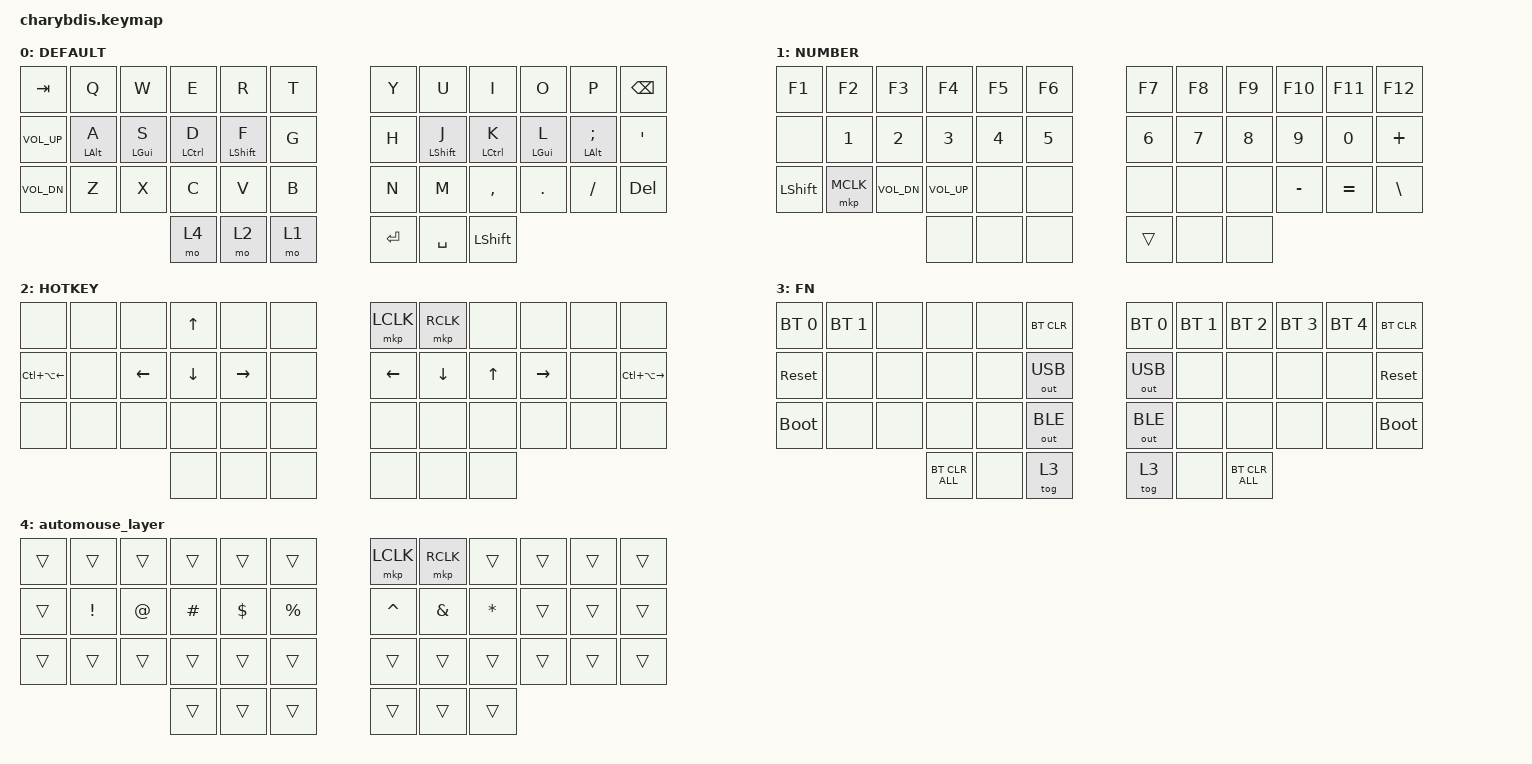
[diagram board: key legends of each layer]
#include <dt-bindings/zmk/mouse.h>
#include <behaviors.dtsi>
#include <dt-bindings/zmk/bt.h>
#include <dt-bindings/zmk/keys.h>
#include <dt-bindings/zmk/outputs.h>
#include <dt-bindings/zmk/pointing.h>

#define DEFAULT 0
#define NUMBER  1
#define FN  2
#define HOTKEY  3
#define KEYS_L 0 1 2 3 4 5 12 13 14 15 16 17 24 25 26 27 28 29
#define KEYS_R 6 7 8 9 10 11 18 19 20 21 22 23 30 31 32 33 34 35
#define THUMBS 36 37 38 39 40 41

/ {
    combos {
        compatible = "zmk,combos";

        combo_lbrc {
            timeout-ms = <50>;
            key-positions = <3 2>; // KP: VB
            bindings = <&mt RBRC LBRC>;
            layers = <0 1>;
        };

        combo_rbrc {
            timeout-ms = <50>;
            key-positions = <8 9>; // KP: NM
            bindings = <&kp RBRC>;
            layers = <0 1>;
        };

        combo_lpar {
            timeout-ms = <50>;
            key-positions = <14 15>; // KP: FG
            bindings = <&mt RPAR LPAR>;
            layers = <0 1>;
        };

        combo_rpar {
            timeout-ms = <50>;
            key-positions = <20 21>;
            bindings = <&kp RPAR>;
            layers = <0 1>;
        };

        combo_lbkt {
            timeout-ms = <50>;
            key-positions = <26 27>; // KP: RT
            bindings = <&mt RBKT LBKT>;  // 可以用CMD+这个单手返回到代码上一个编辑的地方 或者网页返回
            layers = <0 1>;
        };

        combo_rbkt {
            timeout-ms = <50>;
            key-positions = <32 33>; // KP: YU
            bindings = <&kp RBKT>;
            layers = <0 1>;
        };

        esc {
            timeout-ms = <50>;
            key-positions = <0 1>;
            bindings = <&kp ESC>; // ESC
            layers = <0>;
        };

        system_right {
            bindings = <&tog 3>;
            key-positions = <6 11>;
        };

        system_left {
            bindings = <&tog 3>;
            key-positions = <0 5>;
        };

        Grave_Tilde {
            bindings = <&kp GRAVE>;
            key-positions = <12 13>;
        };

        MB1_Right {
            bindings = <&mkp LCLK>;
            key-positions = <6 7>;
        };

        MB1_Left {
            bindings = <&mkp LCLK>;
            key-positions = <4 5>;
        };

        MB2_Right {
            bindings = <&mkp RCLK>;
            key-positions = <7 8>;
        };

        MB2_Left {
            bindings = <&mkp RCLK>;
            key-positions = <3 4>;
        };

        Scroll {
            bindings = <&mo 1>;
            key-positions = <6 8>;
        };
    };

    behaviors {
        hml: home_row_mod_left {
            compatible = "zmk,behavior-hold-tap";
            #binding-cells = <2>;
            flavor = "balanced";
            require-prior-idle-ms = <150>;
            tapping-term-ms = <280>;
            quick-tap-ms = <175>;
            bindings = <&kp>, <&kp>;

            hold-trigger-key-positions = < KEYS_R THUMBS >; // List of keys on the right side of the keyboard
            hold-trigger-on-release;
        };

        hmr: home_row_mod_right {
            compatible = "zmk,behavior-hold-tap";
            #binding-cells = <2>;
            flavor = "balanced";
            require-prior-idle-ms = <150>;
            tapping-term-ms = <280>;
            quick-tap-ms = <175>;
            bindings = <&kp>, <&kp>;

            hold-trigger-key-positions = < KEYS_L THUMBS >; // List of keys on the left side of the keyboard
            hold-trigger-on-release;
        };
    };

    keymap {
        compatible = "zmk,keymap";

        default_layer {
            label = "DEFAULT";
            bindings = <
&kp TAB          &kp Q            &kp W            &kp E         &kp R              &kp T  &kp Y      &kp U              &kp I         &kp O            &kp P                    &kp BACKSPACE
&kp C_VOLUME_UP  &hml LEFT_ALT A  &hml LEFT_GUI S  &hml LCTRL D  &hml LEFT_SHIFT F  &kp G  &kp H      &hmr LEFT_SHIFT J  &hmr LCTRL K  &hmr LEFT_GUI L  &hmr LEFT_ALT SEMICOLON  &kp SQT
&kp C_VOL_DN     &kp Z            &kp X            &kp C         &kp V              &kp B  &kp N      &kp M              &kp COMMA     &kp DOT          &kp FSLH                 &kp DEL
                                                   &mo 4         &mo 2              &mo 1  &kp ENTER  &kp SPACE          &kp LSHFT
            >;
        };

        number_layer {
            label = "NUMBER";
            bindings = <
&kp F1     &kp F2     &kp F3        &kp F4        &kp F5  &kp F6  &kp F7  &kp F8  &kp F9  &kp F10    &kp F11    &kp F12
&none      &kp N1     &kp N2        &kp N3        &kp N4  &kp N5  &kp N6  &kp N7  &kp N8  &kp N9     &kp N0     &kp PLUS
&kp LSHFT  &mkp MCLK  &kp C_VOL_DN  &kp C_VOL_UP  &none   &none   &none   &none   &none   &kp MINUS  &kp EQUAL  &kp BACKSLASH
                                    &none         &none   &none   &trans  &none   &none
            >;
        };

        hotkey_layer {
            label = "HOTKEY";
            bindings = <
&none             &none  &none     &kp UP    &none      &none  &mkp LCLK  &mkp RCLK  &none         &none      &none  &none
&kp LC(LA(LEFT))  &none  &kp LEFT  &kp DOWN  &kp RIGHT  &none  &kp LEFT   &kp DOWN   &kp UP_ARROW  &kp RIGHT  &none  &kp LC(LA(RIGHT))
&none             &none  &none     &none     &none      &none  &none      &none      &none         &none      &none  &none
                                   &none     &none      &none  &none      &none      &none
            >;
        };

        SYSTEM_LAYER {
            label = "FN";
            bindings = <
&bt BT_SEL 0  &bt BT_SEL 1  &none  &none           &none  &bt BT_CLR    &bt BT_SEL 0  &bt BT_SEL 1  &bt BT_SEL 2    &bt BT_SEL 3  &bt BT_SEL 4  &bt BT_CLR
&sys_reset    &none         &none  &none           &none  &out OUT_USB  &out OUT_USB  &none         &none           &none         &none         &sys_reset
&bootloader   &none         &none  &none           &none  &out OUT_BLE  &out OUT_BLE  &none         &none           &none         &none         &bootloader
                                   &bt BT_CLR_ALL  &none  &tog 3        &tog 3        &none         &bt BT_CLR_ALL
            >;
        };

        automouse_layer {
            bindings = <
&trans  &trans    &trans  &trans    &trans      &trans       &mkp LCLK  &mkp RCLK  &trans        &trans  &trans  &trans
&trans  &kp EXCL  &kp AT  &kp HASH  &kp DOLLAR  &kp PERCENT  &kp CARET  &kp AMPS   &kp ASTERISK  &trans  &trans  &trans
&trans  &trans    &trans  &trans    &trans      &trans       &trans     &trans     &trans        &trans  &trans  &trans
                          &trans    &trans      &trans       &trans     &trans     &trans
            >;
        };
    };
};
